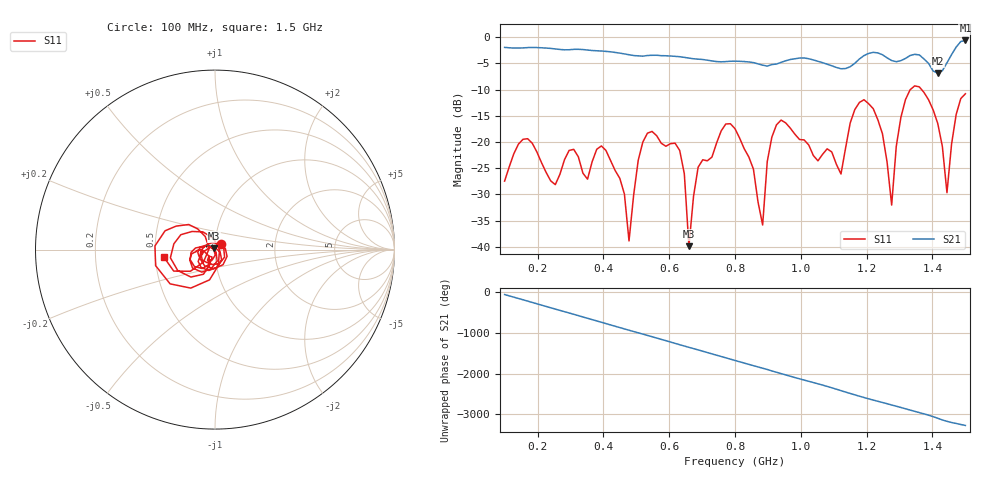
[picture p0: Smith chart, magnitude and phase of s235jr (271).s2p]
! NanoVNA-App
! Date: 2025-09-25 15:06:16
! Start: 100MHz Stop: 1,5GHz Points: 101
! S-Parameter data: F S11 S21 S12 S22
# Hz S RI R 50
!  Frequency  S11_Real  S11_Imag  S21_Real  S21_Imag  S12_Real  S12_Imag  S22_Real  S22_Imag
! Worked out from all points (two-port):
!   101 points, 100 MHz to 1.5 GHz, reference 50 ohm
!   highest |S21| = -0.64 dB at 1.5 GHz (marker M1); lowest = -6.9 dB at 1.416 GHz (marker M2)
!   |S21| within 3 dB of the highest: start of sweep to 610.8 MHz; 1.189 GHz to 1.255 GHz (65.09 MHz wide, 5.33 % of centre) (the widest 2 of 4)
!   lowest |S11| = -39.9 dB at 660 MHz (marker M3), VSWR 1.02, Z = 49.2 + j0.646 ohm
!   |S11| at or under -10 dB: start of sweep to 1.333 GHz; 1.367 GHz to end of sweep
!   S12 and S22 are empty: the file has one direction only
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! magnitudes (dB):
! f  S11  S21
! 100 MHz  -27.5  -2.0
! 170 MHz  -19.4  -2.0
! 338 MHz  -26.0  -2.4
! 408 MHz  -21.6  -2.7
! 478 MHz  -38.9  -3.4
! 520 MHz  -20.0  -3.6
! 576 MHz  -20.3  -3.5
! 632 MHz  -21.6  -3.7
! 660 MHz  -39.9  -4.0
! 688 MHz  -24.8  -4.2
! 800 MHz  -17.5  -4.6
! 884 MHz  -35.8  -5.4
! 926 MHz  -16.7  -5.1
! 1.038 GHz  -22.6  -4.4
! 1.122 GHz  -26.1  -6.0
! 1.192 GHz  -11.9  -3.5
! 1.248 GHz  -18.4  -3.4
! 1.276 GHz  -32.0  -4.5
! 1.332 GHz  -10.0  -3.5
! 1.416 GHz  -16.5  -6.9
! 1.444 GHz  -29.7  -4.9
! 1.5 GHz  -10.8  -0.6
